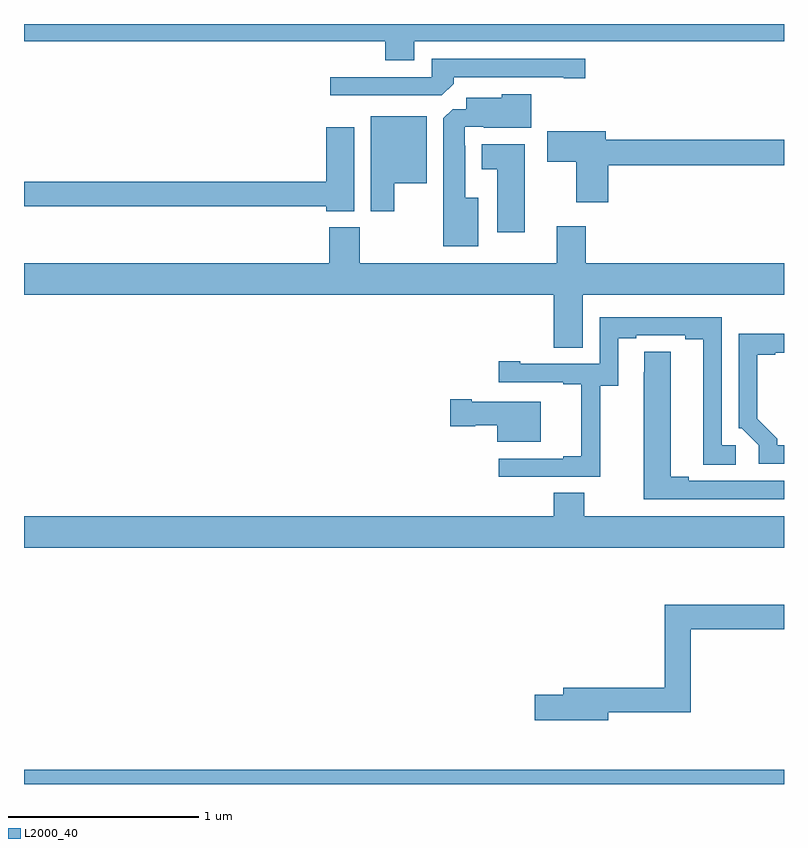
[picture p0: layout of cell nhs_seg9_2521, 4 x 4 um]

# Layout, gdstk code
import gdstk
lib = gdstk.Library(unit=1e-6, precision=1e-09)
def R(c, l, rs):  # rectangles x0, y0, x1, y1
    for r in rs: c.add(gdstk.rectangle(r[:2], r[2:], *l))
def P(c, l, *ps):  # polygons
    for p in ps: c.add(gdstk.Polygon(p, *l))
L2000_40 = (2000, 40)

nhs_seg9_2521 = lib.new_cell('nhs_seg9_2521')
R(nhs_seg9_2521, L2000_40, [(255,1204.5,259,1204.576)])
P(nhs_seg9_2521, L2000_40, [(257.053,1208.408),(259,1208.408),(259,1208.5),(255,1208.5),(255,1208.408),(256.901,1208.408),(256.901,1208.309),(257.053,1208.309)],
  [(257.261,1208.186),(257.261,1208.22),(257.84,1208.22),(257.84,1208.215),(257.953,1208.215),(257.953,1208.316),(257.145,1208.316),(257.145,1208.22),(256.611,1208.22),(256.611,1208.124),(257.199,1208.124)],
  [(257.392,1207.585),(257.323,1207.585),(257.323,1207.859),(257.319,1207.859),(257.319,1207.959),(257.419,1207.959),(257.419,1207.955),(257.671,1207.955),(257.671,1208.131),(257.514,1208.131),(257.514,1208.113),(257.327,1208.113),(257.327,1208.052),(257.256,1208.052),(257.207,1208.003),(257.207,1207.331),(257.392,1207.331)],
  [(256.948,1207.661),(257.119,1207.661),(257.119,1208.014),(256.826,1208.014),(256.826,1207.515),(256.948,1207.515)],
  [(256.738,1207.957),(256.592,1207.957),(256.592,1207.67),(255,1207.67),(255,1207.542),(256.592,1207.542),(256.592,1207.514),(256.738,1207.514)],
  [(258.074,1207.756),(259,1207.756),(259,1207.892),(258.061,1207.892),(258.061,1207.936),(257.754,1207.936),(257.754,1207.774),(257.906,1207.774),(257.906,1207.563),(258.074,1207.563)],
  [(257.635,1207.867),(257.408,1207.867),(257.408,1207.736),(257.492,1207.736),(257.492,1207.404),(257.635,1207.404)],
  [(257.941,1207.076),(259,1207.076),(259,1207.24),(257.957,1207.24),(257.957,1207.435),(257.804,1207.435),(257.804,1207.24),(256.767,1207.24),(256.767,1207.429),(256.607,1207.429),(256.607,1207.24),(255,1207.24),(255,1207.076),(257.789,1207.076),(257.789,1206.796),(257.941,1206.796)],
  [(258.033,1206.595),(258.127,1206.595),(258.127,1206.846),(258.223,1206.846),(258.223,1206.861),(258.479,1206.861),(258.479,1206.841),(258.575,1206.841),(258.575,1206.181),(258.745,1206.181),(258.745,1206.282),(258.672,1206.282),(258.672,1206.957),(258.03,1206.957),(258.03,1206.711),(257.611,1206.711),(257.611,1206.724),(257.499,1206.724),(257.499,1206.615),(257.837,1206.615),(257.837,1206.603),(257.933,1206.603),(257.933,1206.226),(257.837,1206.226),(257.837,1206.213),(257.499,1206.213),(257.499,1206.117),(258.033,1206.117)],
  [(259,1206.282),(258.964,1206.282),(258.964,1206.317),(258.859,1206.422),(258.859,1206.759),(258.955,1206.759),(258.955,1206.771),(259,1206.771),(259,1206.869),(258.762,1206.869),(258.762,1206.372),(258.777,1206.372),(258.867,1206.282),(258.867,1206.186),(259,1206.186)],
  [(259,1206.096),(258.499,1206.096),(258.499,1206.116),(258.403,1206.116),(258.403,1206.776),(258.264,1206.776),(258.264,1206.668),(258.263,1206.668),(258.263,1206),(259,1206)],
  [(257.719,1206.511),(257.356,1206.511),(257.356,1206.524),(257.244,1206.524),(257.244,1206.382),(257.376,1206.382),(257.376,1206.389),(257.492,1206.389),(257.492,1206.302),(257.719,1206.302)],
  [(259,1205.908),(257.949,1205.908),(257.949,1206.032),(257.789,1206.032),(257.789,1205.908),(255,1205.908),(255,1205.744),(259,1205.744)],
  [(258.076,1204.878),(258.509,1204.878),(258.509,1205.314),(259,1205.314),(259,1205.443),(258.373,1205.443),(258.373,1205.006),(257.837,1205.006),(257.837,1204.97),(257.688,1204.97),(257.688,1204.835),(258.076,1204.835)])

lib.write_gds('nhs_seg9_2521.gds')
